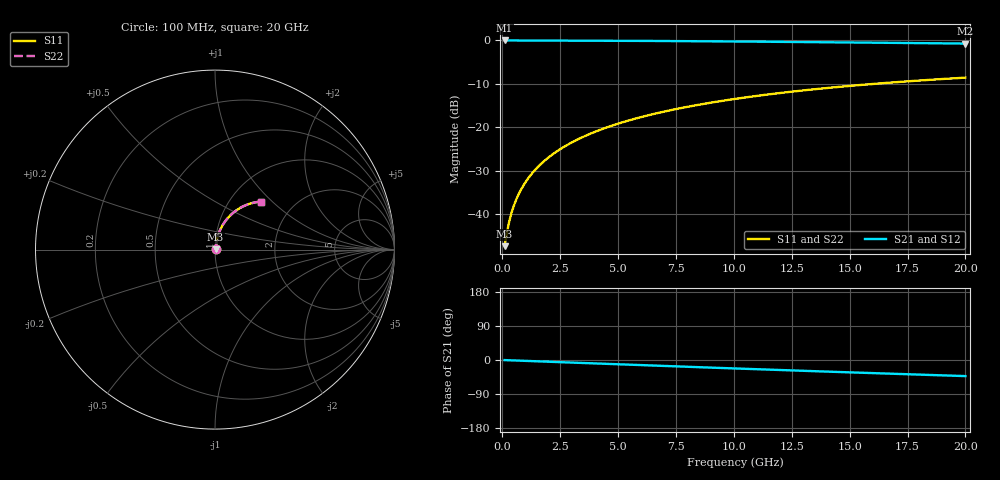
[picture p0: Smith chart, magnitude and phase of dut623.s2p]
! Touchstone file exported from HFSS 2026.1.0
!  File:  C:/ffzhzh/LocalFiles/Ansys_Project_Files/temp_train_TMRDL_623_1783009020_4048.aedt
!  Generated:  12:18:28 AM Jul  3, 2026
!  Design:  TMRDL
!  Project:  temp_train_TMRDL_623_1783009020_4048
! Variables:
!  h_bsmrdl = 2um
!  h_ox = 20um
!  h_rdl = 5um
!  h_sub = 80um
!  h_tmrdl = 2.62um
!  h_tsv = 80um
!  h_via = 3um
!  l_bsmrdl = 300um
!  l_sub = 1017.4um
!  l_tmrdl = 617.4um
!  m_sub = 200um
!  pitch = 52.3um
!  r_tsv = 6um
!  s_tmrdl = 10um
!  w_bsmrdl = 18um
!  w_sub = 500um
!  w_tmrdl = 26.5um
!  x_tsv_center1 = 630.65um
!  x_tsv_center2 = 948.65um
!  x_tsv_center3 = 1592.55um
!  x_tsv_center4 = 1910.55um
!  x_tsv_center5 = 2554.45um
!  x_tsv_center6 = 2872.45um
# GHz S MA R 50.000000
! Terminal data exported
! Port[1] = TM_RDL1_1_T1
! Port[2] = TM_RDL1_1_T2
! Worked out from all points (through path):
!   200 points, 100 MHz to 20 GHz, reference 50 ohm
!   highest |S21| = -0.03 dB at 100 MHz (marker M1); lowest = -0.7 dB at 20 GHz (marker M2)
!   group delay of S21, straight-line fit = 5.91 ps
!   lowest |S11| = -47.4 dB at 100 MHz (marker M3), VSWR 1.01, Z = 50.3 + j0.25 ohm
!   |S11| at or under -10 dB: start of sweep to 16.11 GHz
!   |S22| runs from -47.4 to -8.6 dB; largest |S21 - S12| = 3.7e-15
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0.1  0.004262 35.6  0.9965 -0.2  0.9965 -0.2  0.004262 35.6
! Gamma 0 0 0 0
! Port Impedance 50 0 50 0
0.2  0.006108 53.4  0.9964 -0.5  0.9964 -0.5  0.006108 53.4
0.3  0.008209 61.8  0.9962 -0.7  0.9962 -0.7  0.008209 61.8
0.4  0.01035 66.5  0.996 -0.9  0.996 -0.9  0.01035 66.5
0.5  0.01249 69.6  0.9958 -1.2  0.9958 -1.2  0.01249 69.6
0.6  0.01463 71.7  0.9957 -1.4  0.9957 -1.4  0.01463 71.7
0.8  0.0189 74.6  0.9954 -1.9  0.9954 -1.9  0.0189 74.6
1.1  0.02534 77.0  0.9951 -2.5  0.9951 -2.5  0.02534 77.0
1.3  0.02966 78.0  0.9949 -3.0  0.9949 -3.0  0.02966 78.0
1.6  0.03618 78.8  0.9946 -3.7  0.9946 -3.7  0.03618 78.8
2.1  0.04707 79.3  0.994 -4.8  0.994 -4.8  0.04707 79.3
2.7  0.06015 79.1  0.9932 -6.1  0.9932 -6.1  0.06015 79.1
3.5  0.07753 78.2  0.9918 -7.9  0.9918 -7.9  0.07753 78.2
4.2  0.09263 77.1  0.9903 -9.5  0.9903 -9.5  0.09263 77.1
5  0.1097 75.7  0.9883 -11.3  0.9883 -11.3  0.1097 75.7
5.9  0.1287 74.0  0.9857 -13.3  0.9857 -13.3  0.1287 74.0
6.8  0.1473 72.2  0.9827 -15.3  0.9827 -15.3  0.1473 72.2
8.3  0.1776 69.2  0.9771 -18.6  0.9771 -18.6  0.1776 69.2
10.1  0.2125 65.5  0.9695 -22.5  0.9695 -22.5  0.2125 65.5
13.4  0.272 58.8  0.9534 -29.4  0.9534 -29.4  0.272 58.8
16.7  0.3252 52.3  0.9359 -36.0  0.9359 -36.0  0.3252 52.3
20  0.3719 46.0  0.9179 -42.5  0.9179 -42.5  0.3719 46.0
